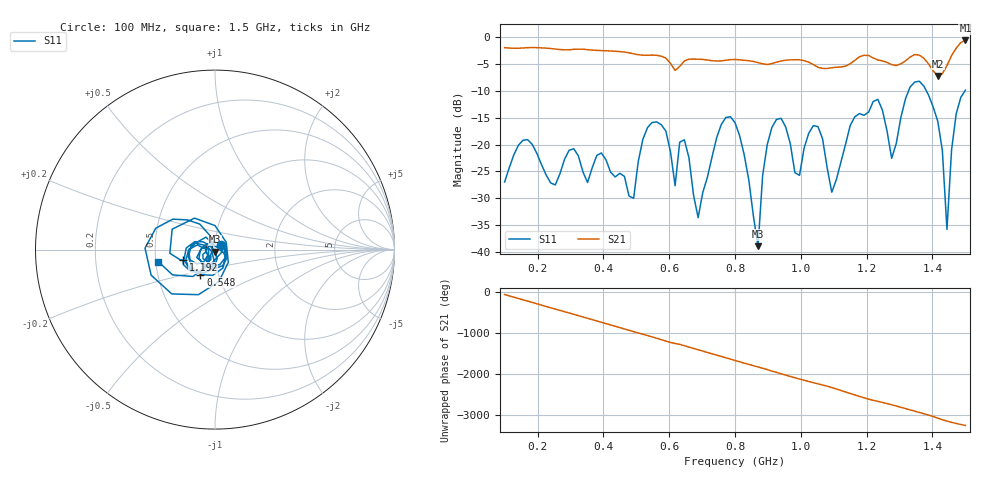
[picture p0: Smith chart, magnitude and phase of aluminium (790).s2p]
! NanoVNA-App
! Date: 2025-09-25 15:01:26
! Start: 100MHz Stop: 1,5GHz Points: 101
! S-Parameter data: F S11 S21 S12 S22
# Hz S RI R 50
!  Frequency  S11_Real  S11_Imag  S21_Real  S21_Imag  S12_Real  S12_Imag  S22_Real  S22_Imag
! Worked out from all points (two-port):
!   101 points, 100 MHz to 1.5 GHz, reference 50 ohm
!   highest |S21| = -0.58 dB at 1.5 GHz (marker M1); lowest = -7.2 dB at 1.416 GHz (marker M2)
!   |S21| within 3 dB of the highest: start of sweep to 578.6 MHz; 1.457 GHz to end of sweep (the widest 2 of 4)
!   lowest |S11| = -38.9 dB at 870 MHz (marker M3), VSWR 1.02, Z = 50.1 - j1.13 ohm
!   |S11| at or under -10 dB: start of sweep to 1.327 GHz; 1.382 GHz to 1.498 GHz (116.7 MHz wide, 8.11 % of centre)
!   S12 and S22 are empty: the file has one direction only
!   S11 on the Smith chart (normalised r, x): 100 MHz: 1.07, +0.06; 548 MHz: 0.82, -0.23; 1.192 GHz: 0.69, -0.08; 1.5 GHz: 0.52, -0.08
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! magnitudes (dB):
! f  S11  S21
! 100 MHz  -27.0  -1.9
! 156 MHz  -19.2  -2.0
! 338 MHz  -25.1  -2.2
! 492 MHz  -30.0  -3.1
! 548 MHz  -15.9  -3.3
! 576 MHz  -16.3  -3.5
! 618 MHz  -27.7  -6.1
! 646 MHz  -19.1  -4.4
! 688 MHz  -33.6  -4.1
! 800 MHz  -15.9  -4.1
! 870 MHz  -38.9  -4.7
! 912 MHz  -16.8  -4.9
! 996 MHz  -25.7  -4.2
! 1.038 GHz  -16.5  -5.1
! 1.094 GHz  -28.9  -5.7
! 1.192 GHz  -14.5  -3.3
! 1.276 GHz  -22.5  -5.1
! 1.346 GHz  -8.3  -3.2
! 1.416 GHz  -15.6  -7.2
! 1.444 GHz  -35.8  -5.3
! 1.472 GHz  -14.3  -2.0
! 1.5 GHz  -9.8  -0.6
